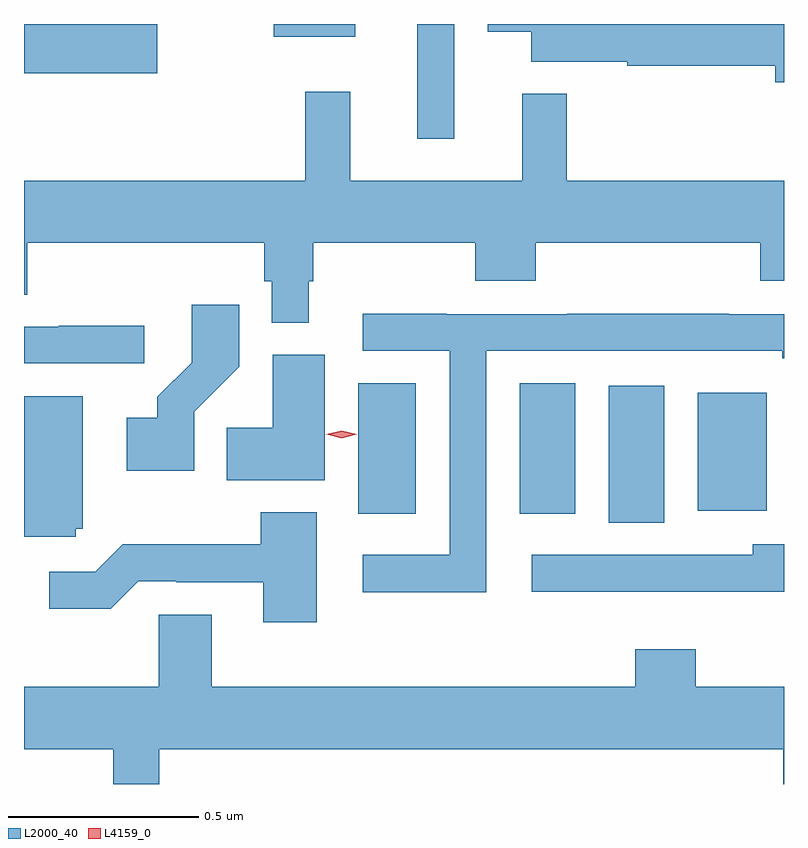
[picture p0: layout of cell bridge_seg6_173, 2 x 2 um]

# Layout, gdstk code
import gdstk
lib = gdstk.Library(unit=1e-6, precision=1e-09)
def R(c, l, rs):  # rectangles x0, y0, x1, y1
    for r in rs: c.add(gdstk.rectangle(r[:2], r[2:], *l))
def P(c, l, *ps):  # polygons
    for p in ps: c.add(gdstk.Polygon(p, *l))
L2000_40 = (2000, 40)
L4159_0 = (4159, 0)

bridge_seg6_173 = lib.new_cell('bridge_seg6_173')
R(bridge_seg6_173, L2000_40, [(239.054,943.936,239.2,944.296), (238.394,943.959,238.546,944.303), (238.82,943.959,238.966,944.303), (239.288,943.967,239.47,944.278), (238.55,944.946,238.647,945.248), (237.515,945.119,237.865,945.248), (238.172,945.215,238.387,945.248)])
P(bridge_seg6_173, L2000_40, [(239.515,945.248),(238.736,945.248),(238.736,945.227),(238.85,945.227),(238.85,945.149),(239.102,945.149),(239.102,945.138),(239.492,945.138),(239.492,945.095),(239.515,945.095)],
  [(238.264,944.571),(238.276,944.571),(238.276,944.672),(238.702,944.672),(238.702,944.573),(238.862,944.573),(238.862,944.672),(239.453,944.672),(239.453,944.573),(239.515,944.573),(239.515,944.836),(238.943,944.836),(238.943,945.064),(238.826,945.064),(238.826,944.836),(238.373,944.836),(238.373,945.07),(238.255,945.07),(238.255,944.836),(237.515,944.836),(237.515,944.536),(237.524,944.536),(237.524,944.672),(238.147,944.672),(238.147,944.571),(238.167,944.571),(238.167,944.462),(238.264,944.462)],
  [(237.963,944.227),(238.082,944.346),(238.082,944.509),(237.957,944.509),(237.957,944.357),(237.866,944.267),(237.866,944.212),(237.786,944.212),(237.786,944.072),(237.963,944.072)],
  [(238.731,944.388),(239.51,944.388),(239.51,944.368),(239.515,944.368),(239.515,944.484),(239.369,944.484),(239.369,944.486),(238.945,944.486),(238.945,944.484),(238.628,944.484),(238.628,944.486),(238.407,944.486),(238.407,944.388),(238.635,944.388),(238.635,943.851),(238.407,943.851),(238.407,943.753),(238.731,943.753)],
  [(237.832,944.454),(237.607,944.454),(237.607,944.451),(237.515,944.451),(237.515,944.355),(237.832,944.355)],
  [(238.306,944.377),(238.169,944.377),(238.169,944.186),(238.048,944.186),(238.048,944.048),(238.306,944.048)],
  [(237.651,943.92),(237.67,943.92),(237.67,944.269),(237.515,944.269),(237.515,943.899),(237.651,943.899)],
  [(238.285,943.963),(238.138,943.963),(238.138,943.879),(237.775,943.879),(237.702,943.806),(237.582,943.806),(237.582,943.709),(237.743,943.709),(237.816,943.782),(237.916,943.782),(237.916,943.779),(238.145,943.779),(238.145,943.674),(238.285,943.674)],
  [(239.515,943.879),(239.433,943.879),(239.433,943.851),(238.851,943.851),(238.851,943.754),(239.515,943.754)],
  [(237.871,943.34),(239.513,943.34),(239.513,943.248),(239.515,943.248),(239.515,943.504),(239.283,943.504),(239.283,943.603),(239.123,943.603),(239.123,943.504),(238.009,943.504),(238.009,943.694),(237.87,943.694),(237.87,943.504),(237.515,943.504),(237.515,943.34),(237.75,943.34),(237.75,943.248),(237.871,943.248)])
P(bridge_seg6_173, L4159_0, [(238.351,944.158),(238.31,944.168),(238.31,944.168),(238.31,944.168),(238.351,944.178),(238.391,944.168),(238.391,944.168),(238.391,944.168)])

lib.write_gds('bridge_seg6_173.gds')
